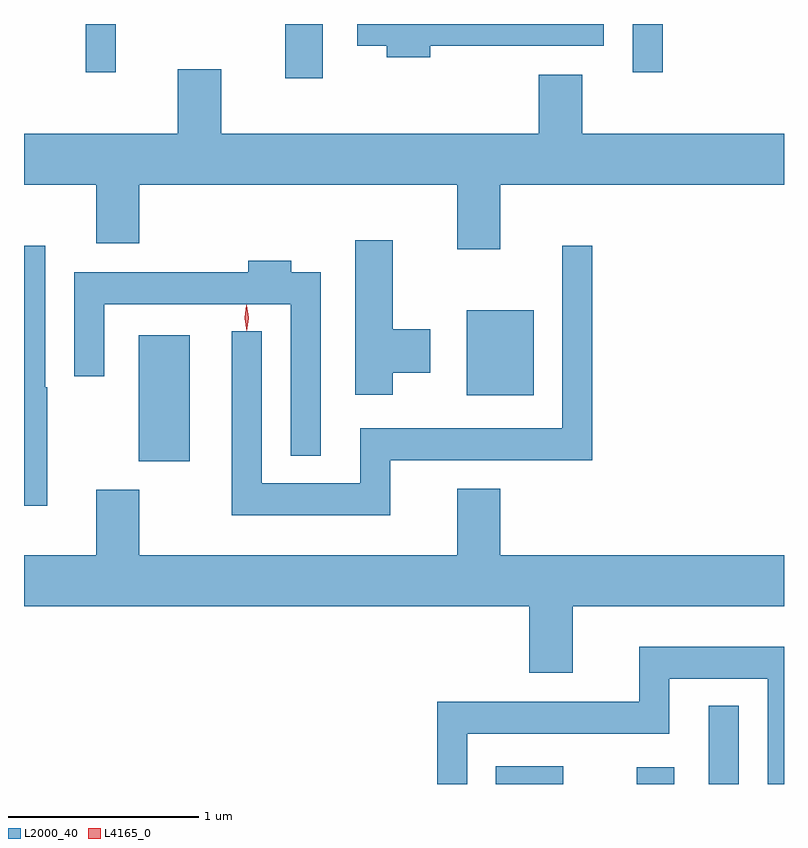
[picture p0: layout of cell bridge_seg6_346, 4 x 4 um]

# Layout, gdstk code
import gdstk
lib = gdstk.Library(unit=1e-6, precision=1e-09)
def R(c, l, rs):  # rectangles x0, y0, x1, y1
    for r in rs: c.add(gdstk.rectangle(r[:2], r[2:], *l))
def P(c, l, *ps):  # polygons
    for p in ps: c.add(gdstk.Polygon(p, *l))
L2000_40 = (2000, 40)
L4165_0 = (4165, 0)

bridge_seg6_346 = lib.new_cell('bridge_seg6_346')
R(bridge_seg6_346, L2000_40, [(1318.266,1535.781,1318.619,1535.874), (1319.006,1535.781,1319.204,1535.869), (1319.386,1535.781,1319.544,1536.193), (1316.386,1537.481,1316.654,1538.144), (1318.111,1537.826,1318.464,1538.274), (1317.156,1539.496,1317.354,1539.781), (1316.106,1539.528,1316.264,1539.781), (1318.986,1539.528,1319.144,1539.781)])
P(bridge_seg6_346, L2000_40, [(1317.919,1539.666),(1318.834,1539.666),(1318.834,1539.781),(1317.536,1539.781),(1317.536,1539.666),(1317.691,1539.666),(1317.691,1539.606),(1317.919,1539.606)],
  [(1318.289,1538.936),(1319.782,1538.936),(1319.782,1539.204),(1318.719,1539.204),(1318.719,1539.514),(1318.491,1539.514),(1318.491,1539.204),(1316.819,1539.204),(1316.819,1539.544),(1316.591,1539.544),(1316.591,1539.204),(1315.782,1539.204),(1315.782,1538.936),(1316.161,1538.936),(1316.161,1538.626),(1316.389,1538.626),(1316.389,1538.936),(1318.061,1538.936),(1318.061,1538.596),(1318.289,1538.596)],
  [(1317.724,1537.946),(1317.919,1537.946),(1317.919,1538.174),(1317.724,1538.174),(1317.724,1538.644),(1317.526,1538.644),(1317.526,1537.831),(1317.724,1537.831)],
  [(1317.709,1537.486),(1318.774,1537.486),(1318.774,1538.613),(1318.616,1538.613),(1318.616,1537.654),(1317.551,1537.654),(1317.551,1537.364),(1317.034,1537.364),(1317.034,1538.163),(1316.876,1538.163),(1316.876,1537.196),(1317.709,1537.196)],
  [(1315.904,1537.87),(1315.894,1537.87),(1315.894,1538.613),(1315.782,1538.613),(1315.782,1537.246),(1315.904,1537.246)],
  [(1317.344,1538.474),(1317.189,1538.474),(1317.189,1538.534),(1316.961,1538.534),(1316.961,1538.474),(1316.046,1538.474),(1316.046,1537.928),(1316.204,1537.928),(1316.204,1538.306),(1317.186,1538.306),(1317.186,1537.508),(1317.344,1537.508)],
  [(1318.669,1536.716),(1319.782,1536.716),(1319.782,1536.984),(1318.289,1536.984),(1318.289,1537.334),(1318.061,1537.334),(1318.061,1536.984),(1316.389,1536.984),(1316.389,1537.329),(1316.161,1537.329),(1316.161,1536.984),(1315.782,1536.984),(1315.782,1536.716),(1318.441,1536.716),(1318.441,1536.366),(1318.669,1536.366)],
  [(1318.114,1536.046),(1319.179,1536.046),(1319.179,1536.336),(1319.696,1536.336),(1319.696,1535.781),(1319.782,1535.781),(1319.782,1536.504),(1319.021,1536.504),(1319.021,1536.214),(1317.956,1536.214),(1317.956,1535.781),(1318.114,1535.781)])
P(bridge_seg6_346, L4165_0, [(1316.954,1538.167),(1316.954,1538.167),(1316.944,1538.234),(1316.953,1538.3),(1316.954,1538.3),(1316.954,1538.3),(1316.964,1538.234),(1316.954,1538.167)],
  [(1316.954,1538.164),(1316.954,1538.164),(1316.944,1538.233),(1316.954,1538.302),(1316.954,1538.303),(1316.955,1538.302),(1316.964,1538.233),(1316.955,1538.164)])

lib.write_gds('bridge_seg6_346.gds')
